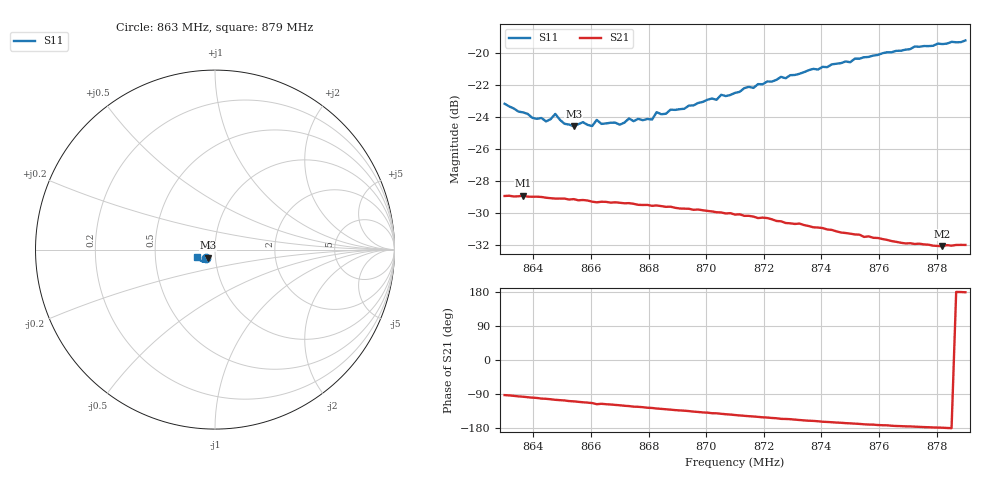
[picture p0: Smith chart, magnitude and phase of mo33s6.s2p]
# HZ S RI R 50
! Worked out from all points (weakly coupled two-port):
!   101 points, 863 MHz to 879 MHz, reference 50 ohm
!   highest |S21| = -28.93 dB at 863.64 MHz (marker M1); lowest = -32.1 dB at 878.2 MHz (marker M2)
!   lowest |S11| = -24.6 dB at 865.4 MHz (marker M3), VSWR 1.13, Z = 46.1 - j4.16 ohm
!   |S11| at or under -10 dB: start of sweep to end of sweep
!   S12 and S22 are empty: the file has one direction only
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8.63e8  -0.0526 -0.0452  -0.00164 -0.0356  0 0  0 0
8.6364e8  -0.047 -0.0451  -0.0043 -0.0355  0 0  0 0
8.6444e8  -0.0435 -0.0428  -0.00759 -0.0344  0 0  0 0
8.6476e8  -0.0447 -0.0465  -0.00907 -0.0338  0 0  0 0
8.6508e8  -0.0403 -0.0445  -0.0101 -0.0335  0 0  0 0
8.654e8  -0.0382 -0.0449  -0.0114 -0.033  0 0  0 0
8.6572e8  -0.0383 -0.0471  -0.0127 -0.0322  0 0  0 0
8.6604e8  -0.0375 -0.0456  -0.0137 -0.0314  0 0  0 0
8.662e8  -0.0395 -0.0474  -0.0153 -0.0305  0 0  0 0
8.6636e8  -0.0384 -0.046  -0.0148 -0.0309  0 0  0 0
8.67e8  -0.0355 -0.0479  -0.0167 -0.0296  0 0  0 0
8.6732e8  -0.0368 -0.0504  -0.0177 -0.0289  0 0  0 0
8.6748e8  -0.0342 -0.0507  -0.0184 -0.0282  0 0  0 0
8.6812e8  -0.0347 -0.0512  -0.0198 -0.0267  0 0  0 0
8.6828e8  -0.0357 -0.0546  -0.0205 -0.0262  0 0  0 0
8.6844e8  -0.0346 -0.0542  -0.0209 -0.0258  0 0  0 0
8.7052e8  -0.0404 -0.0619  -0.0249 -0.0195  0 0  0 0
8.71e8  -0.0414 -0.0625  -0.0256 -0.0178  0 0  0 0
8.7372e8  -0.0574 -0.0682  -0.0269 -0.00941  0 0  0 0
8.7644e8  -0.0801 -0.0606  -0.0256 -0.00291  0 0  0 0
8.782e8  -0.0946 -0.0491  -0.0248 -0.000569  0 0  0 0
8.79e8  -0.1005 -0.0431  -0.0251 0.000568  0 0  0 0
